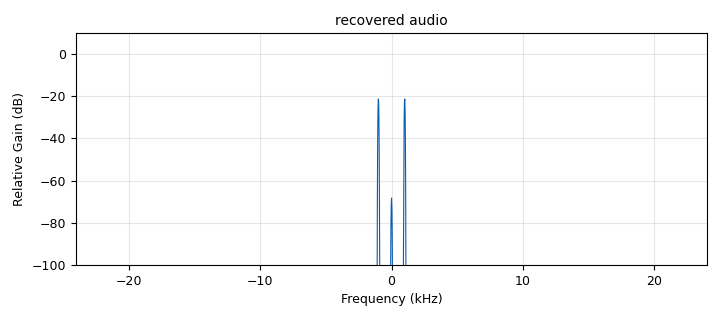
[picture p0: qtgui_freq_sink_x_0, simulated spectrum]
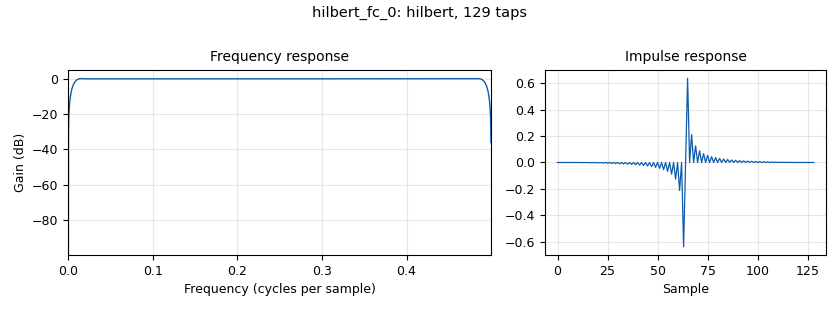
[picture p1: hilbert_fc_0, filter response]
options:
  parameters:
    author: LA7LKA
    description: Self-contained AM demod test -- generates a tone, AM modulates, demodulates, and shows both spectra. No radio, no sound card. If the recovered spectrum shows the tone, the demod chain is correct.
    generate_options: qt_gui
    id: am_loopback
    output_language: python
    title: AM demod loopback test
  states: {}

blocks:
- name: if_freq
  id: variable
  parameters:
    value: '12000'
  states: {}
- name: samp_rate
  id: variable
  parameters:
    value: '48000'
  states: {}
- name: tone
  id: variable
  parameters:
    value: '1000'
  states: {}
- name: analog_sig_source_x_0
  id: analog_sig_source_x
  parameters:
    amp: '0.5'
    comment: the modulating tone
    freq: tone
    offset: '0'
    phase: '0'
    samp_rate: samp_rate
    type: float
    waveform: analog.GR_COS_WAVE
  states: {}
- name: analog_sig_source_x_1
  id: analog_sig_source_x
  parameters:
    amp: '1'
    comment: carrier at the IF
    freq: if_freq
    offset: '0'
    phase: '0'
    samp_rate: samp_rate
    type: float
    waveform: analog.GR_COS_WAVE
  states: {}
- name: analog_sig_source_x_2
  id: analog_sig_source_x
  parameters:
    amp: '1'
    comment: mix down (negative)
    freq: '-if_freq'
    offset: '0'
    phase: '0'
    samp_rate: samp_rate
    type: complex
    waveform: analog.GR_COS_WAVE
  states: {}
- name: blocks_add_const_vxx_0
  id: blocks_add_const_vxx
  parameters:
    comment: add the carrier -> AM envelope
    const: '1'
    type: float
  states: {}
- name: blocks_complex_to_mag_0
  id: blocks_complex_to_mag
  parameters:
    comment: envelope = |I+jQ|
  states: {}
- name: blocks_multiply_xx_0
  id: blocks_multiply_xx
  parameters:
    comment: AM signal at 12 kHz (real)
    type: float
  states: {}
- name: blocks_multiply_xx_1
  id: blocks_multiply_xx
  parameters:
    type: complex
  states: {}
- name: dc_blocker_xx_0
  id: dc_blocker_xx
  parameters:
    comment: remove the carrier pedestal
    length: '256'
    long_form: 'True'
    type: ff
  states: {}
- name: hilbert_fc_0
  id: hilbert_fc
  parameters:
    comment: real -> analytic
    num_taps: '129'
    win: window.WIN_HANN
  states: {}
- name: qtgui_freq_sink_x_0
  id: qtgui_freq_sink_x
  parameters:
    average: '0.2'
    bw: samp_rate
    comment: 'recovered audio: the tone should appear here'
    fc: '0'
    fftsize: '2048'
    grid: 'True'
    legend: 'False'
    name: recovered audio
    tr_tag: ''
    type: float
    ymin: '-100'
  states: {}

connections:
- [analog_sig_source_x_0, '0', blocks_add_const_vxx_0, '0']
- [analog_sig_source_x_1, '0', blocks_multiply_xx_0, '1']
- [analog_sig_source_x_2, '0', blocks_multiply_xx_1, '1']
- [blocks_add_const_vxx_0, '0', blocks_multiply_xx_0, '0']
- [blocks_complex_to_mag_0, '0', dc_blocker_xx_0, '0']
- [blocks_multiply_xx_0, '0', hilbert_fc_0, '0']
- [blocks_multiply_xx_1, '0', blocks_complex_to_mag_0, '0']
- [dc_blocker_xx_0, '0', qtgui_freq_sink_x_0, '0']
- [hilbert_fc_0, '0', blocks_multiply_xx_1, '0']

metadata:
  file_format: 1
  grc_version: 3.10.12.0
